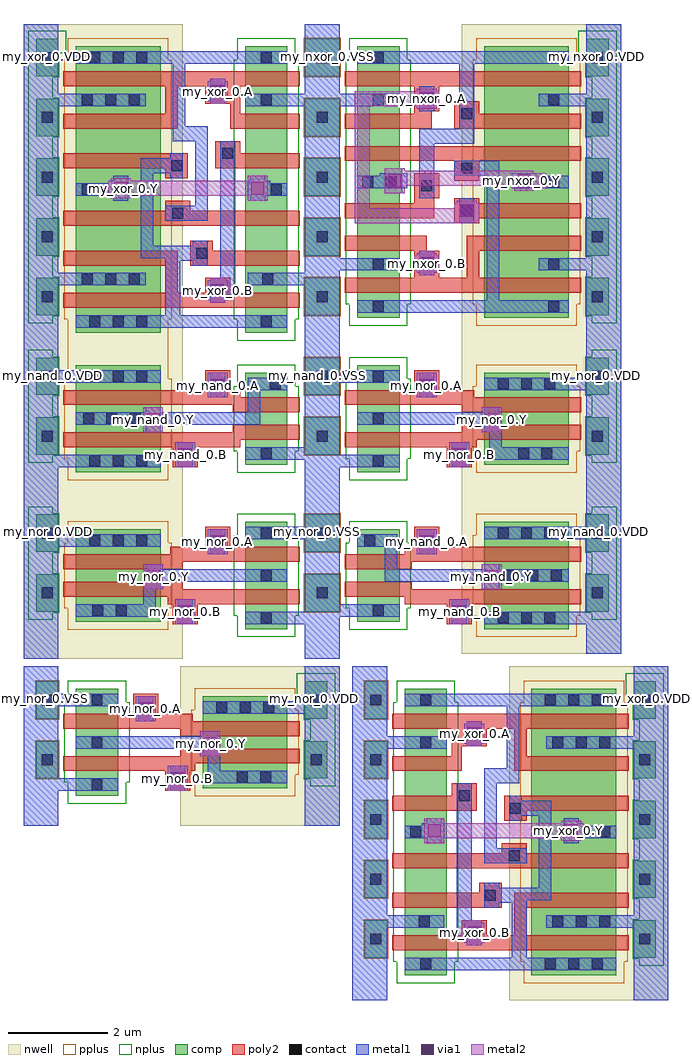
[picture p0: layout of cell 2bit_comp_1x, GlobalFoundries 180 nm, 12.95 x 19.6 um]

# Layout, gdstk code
import gdstk
lib = gdstk.Library(unit=1e-6, precision=1e-09)
def R(c, l, rs):  # rectangles x0, y0, x1, y1
    for r in rs: c.add(gdstk.rectangle(r[:2], r[2:], *l))
def A(c, l, x, y, w, h, nx, ny, dx, dy):  # array of equal rectangles
    R(c, l, [(x+i*dx, y+j*dy, x+i*dx+w, y+j*dy+h) for i in range(nx) for j in range(ny)])
nwell = (21, 0)
comp = (22, 0)
poly2 = (30, 0)
pplus = (31, 0)
nplus = (32, 0)
contact = (33, 0)
metal1 = (34, 0)
via1 = (35, 0)
metal2 = (36, 0)

c_2bit_comp_1x = lib.new_cell('2bit_comp_1x')
R(c_2bit_comp_1x, nwell, [(6.78,-28.229,9.98,-21.529), (0.18,-24.729,3.38,-21.529), (-2.97,-21.379,0.23,-8.629), (5.83,-21.279,9.03,-8.629)])
A(c_2bit_comp_1x, comp, 3.88, -27.379, 0.45, 0.75, 1, 5, 0, 1.2)
A(c_2bit_comp_1x, comp, 9.28, -27.379, 0.45, 0.75, 1, 5, 0, 1.2)
A(c_2bit_comp_1x, comp, -2.72, -14.479, 0.45, 0.75, 1, 5, 0, 1.2)
A(c_2bit_comp_1x, comp, 2.68, -14.479, 0.7, 0.75, 1, 5, 0, 1.2)
A(c_2bit_comp_1x, comp, 8.33, -14.479, 0.45, 0.75, 1, 5, 0, 1.2)
R(c_2bit_comp_1x, comp, [(4.68,-27.729,5.53,-21.979), (7.23,-27.729,8.93,-21.979), (-1.92,-24.129,-1.07,-21.979), (0.63,-23.979,2.33,-22.129), (-2.72,-23.779,-2.27,-23.029), (2.68,-23.779,3.13,-23.029), (-2.72,-22.579,-2.27,-21.829), (2.68,-22.579,3.13,-21.829), (1.48,-20.779,2.33,-18.629), (6.28,-20.779,7.98,-18.629), (-1.92,-20.629,-0.22,-18.779), (3.73,-20.629,4.58,-18.779), (-2.72,-20.429,-2.27,-19.679), (2.68,-20.429,3.38,-19.679), (8.33,-20.429,8.78,-19.679), (-2.72,-19.229,-2.27,-18.479), (2.68,-19.229,3.38,-18.479), (8.33,-19.229,8.78,-18.479), (-1.92,-17.629,-0.22,-15.479), (3.73,-17.629,4.58,-15.479), (1.48,-17.479,2.33,-15.629), (6.28,-17.479,7.98,-15.629), (-2.72,-17.279,-2.27,-16.529), (2.68,-17.279,3.38,-16.529), (8.33,-17.279,8.78,-16.529), (-2.72,-16.079,-2.27,-15.329), (2.68,-16.079,3.38,-15.329), (8.33,-16.079,8.78,-15.329), (-1.92,-14.829,-0.22,-9.079), (1.48,-14.829,2.33,-9.079), (3.73,-14.529,4.58,-9.079), (6.28,-14.529,7.98,-9.079), (4.58,-12.029,4.63,-11.529)])
R(c_2bit_comp_1x, poly2, [(4.43,-27.229,5.83,-26.929), (5.83,-27.229,6.33,-26.629), (6.33,-27.229,6.88,-26.929), (6.88,-27.229,7.13,-26.079), (7.13,-27.229,9.18,-26.929), (4.43,-26.379,6.18,-26.079), (6.18,-26.379,6.63,-25.879), (7.13,-26.379,9.18,-26.079), (4.43,-25.579,6.63,-25.279), (6.63,-25.579,7.13,-25.079), (7.13,-25.579,9.18,-25.279), (6.68,-24.629,7.13,-24.129), (4.43,-24.429,5.63,-24.129), (5.63,-24.429,6.13,-23.879), (7.13,-24.429,9.18,-24.129), (-0.12,-24.029,0.18,-23.329), (0.18,-24.029,0.38,-23.179), (-2.17,-23.629,-0.12,-23.329), (0.38,-23.629,0.48,-23.179), (4.43,-23.629,5.63,-23.329), (5.63,-23.629,5.83,-22.479), (6.88,-23.629,7.13,-22.479), (7.13,-23.629,9.18,-23.329), (0.48,-23.479,2.58,-23.179), (5.83,-23.129,6.33,-22.479), (0.18,-22.929,0.43,-22.479), (0.43,-22.929,2.58,-22.629), (-2.17,-22.779,-0.77,-22.479), (-0.77,-22.779,-0.27,-22.079), (-0.27,-22.779,0.18,-22.479), (4.43,-22.779,5.63,-22.479), (6.33,-22.779,6.88,-22.479), (7.13,-22.779,9.18,-22.479), (0.03,-20.679,0.23,-19.829), (0.23,-20.679,0.53,-19.979), (5.53,-20.679,6.03,-19.979), (-0.07,-20.279,0.03,-19.829), (0.53,-20.279,2.58,-19.979), (4.68,-20.279,4.83,-19.829), (4.83,-20.279,5.53,-19.979), (6.03,-20.279,8.23,-19.979), (-2.17,-20.129,-0.07,-19.829), (3.48,-20.129,4.68,-19.829), (-2.17,-19.579,-0.02,-19.279), (-0.02,-19.579,0.23,-19.129), (3.48,-19.579,4.68,-19.279), (4.68,-19.579,4.83,-19.129), (0.23,-19.429,0.68,-19.129), (0.68,-19.429,1.18,-18.729), (1.18,-19.429,2.58,-19.129), (4.83,-19.429,4.88,-19.129), (4.88,-19.429,5.38,-18.729), (5.38,-19.429,8.23,-19.129), (0.03,-17.529,0.53,-16.829), (5.53,-17.529,5.83,-16.829), (5.83,-17.529,6.03,-16.679), (-2.17,-17.129,0.03,-16.829), (0.53,-17.129,1.23,-16.829), (1.23,-17.129,1.38,-16.679), (3.48,-17.129,5.53,-16.829), (6.03,-17.129,6.13,-16.679), (1.38,-16.979,2.58,-16.679), (6.13,-16.979,8.23,-16.679), (1.23,-16.429,1.38,-15.979), (1.38,-16.429,2.58,-16.129), (5.83,-16.429,6.08,-15.979), (6.08,-16.429,8.23,-16.129), (-2.17,-16.279,0.68,-15.979), (0.68,-16.279,1.18,-15.579), (1.18,-16.279,1.23,-15.979), (3.48,-16.279,4.88,-15.979), (4.88,-16.279,5.38,-15.579), (5.38,-16.279,5.83,-15.979), (-2.17,-14.329,-0.12,-14.029), (-0.12,-14.329,0.13,-13.179), (0.13,-14.329,0.68,-14.029), (0.68,-14.329,1.18,-13.729), (1.18,-14.329,2.58,-14.029), (3.48,-14.029,4.88,-13.729), (4.88,-14.029,5.13,-12.879), (5.13,-14.029,5.38,-13.179), (5.38,-14.029,5.93,-13.729), (5.93,-14.029,6.18,-12.879), (6.18,-14.029,8.23,-13.729), (-2.17,-13.479,-0.12,-13.179), (0.38,-13.479,0.83,-12.979), (0.83,-13.479,2.58,-13.179), (3.48,-13.179,4.88,-12.879), (6.18,-13.179,8.23,-12.879), (-2.17,-12.679,-0.12,-12.379), (-0.12,-12.679,0.38,-12.179), (0.38,-12.679,2.58,-12.379), (5.68,-12.629,6.18,-12.129), (3.48,-12.529,4.88,-12.229), (4.88,-12.529,5.28,-11.629), (6.18,-12.529,8.23,-12.229), (5.28,-12.129,5.38,-11.629), (5.68,-11.779,6.18,-11.079), (-0.12,-11.729,0.33,-11.229), (-2.17,-11.529,-0.12,-11.229), (0.88,-11.529,1.38,-10.979), (1.38,-11.529,2.58,-11.229), (3.48,-11.379,5.68,-11.079), (6.18,-11.379,8.23,-11.079), (-2.17,-10.729,-0.12,-10.429), (-0.12,-10.729,0.13,-9.579), (1.18,-10.729,1.38,-9.579), (1.38,-10.729,2.58,-10.429), (3.48,-10.729,4.88,-10.429), (4.88,-10.729,5.23,-9.579), (5.68,-10.729,6.18,-10.179), (6.18,-10.729,8.23,-10.429), (5.23,-10.379,5.38,-9.579), (0.68,-10.229,1.18,-9.579), (-2.17,-9.879,-0.12,-9.579), (0.13,-9.879,0.68,-9.579), (1.38,-9.879,2.58,-9.579), (3.48,-9.879,4.88,-9.579), (5.38,-9.879,8.23,-9.579)])
A(c_2bit_comp_1x, pplus, 3.86, -27.399, 0.49, 0.79, 1, 5, 0, 1.2)
A(c_2bit_comp_1x, pplus, 2.66, -14.499, 0.74, 0.79, 1, 5, 0, 1.2)
R(c_2bit_comp_1x, pplus, [(7.07,-27.889,9.09,-21.819), (7,-27.459,7.07,-22.249), (9.09,-27.459,9.16,-22.249), (0.47,-24.139,2.49,-21.969), (-2.74,-23.799,-2.25,-23.009), (0.4,-23.709,0.47,-22.399), (2.49,-23.709,2.56,-22.399), (-2.74,-22.599,-2.25,-21.809), (6.12,-20.939,8.14,-18.469), (-2.08,-20.789,-0.06,-18.619), (6.05,-20.509,6.12,-18.899), (8.14,-20.509,8.21,-18.899), (2.66,-20.449,3.4,-19.659), (-2.15,-20.359,-2.08,-19.049), (-0.06,-20.359,0.01,-19.049), (2.66,-19.249,3.4,-18.459), (-2.08,-17.789,-0.06,-8.919), (6.12,-17.639,8.14,-15.469), (-2.15,-17.359,-2.08,-15.749), (-0.06,-17.359,0.01,-15.749), (2.66,-17.299,3.4,-16.509), (6.05,-17.209,6.12,-15.899), (8.14,-17.209,8.21,-15.899), (2.66,-16.099,3.4,-15.309), (6.12,-14.689,8.14,-8.919), (-2.15,-14.559,-2.08,-9.349), (-0.06,-14.559,0.01,-9.349), (6.05,-14.259,6.12,-9.349), (8.14,-14.259,8.21,-9.349)])
A(c_2bit_comp_1x, nplus, 9.26, -27.399, 0.13, 0.79, 1, 4, 0, 1.2)
A(c_2bit_comp_1x, nplus, -2.38, -14.499, 0.13, 0.79, 1, 4, 0, 1.2)
A(c_2bit_comp_1x, nplus, 8.31, -14.499, 0.13, 0.79, 1, 4, 0, 1.2)
R(c_2bit_comp_1x, nplus, [(4.52,-27.889,5.69,-21.819), (9.39,-27.539,9.89,-21.669), (4.45,-27.459,4.52,-22.249), (5.69,-27.459,5.76,-22.249), (-2.08,-24.289,-0.91,-21.819), (2.79,-23.939,3.29,-21.669), (-2.15,-23.859,-2.08,-22.249), (-0.91,-23.859,-0.84,-22.249), (2.66,-23.799,2.79,-23.009), (2.66,-22.599,2.79,-21.669), (9.26,-22.599,9.39,-21.669), (2.52,-22.119,2.66,-21.669), (9.12,-22.119,9.26,-21.669), (1.32,-20.939,2.49,-18.469), (3.57,-20.789,4.74,-18.619), (-2.88,-20.589,-2.38,-18.319), (8.44,-20.589,8.94,-18.319), (1.25,-20.509,1.32,-18.899), (2.49,-20.509,2.56,-18.899), (-2.38,-20.449,-2.25,-19.659), (8.31,-20.449,8.44,-19.659), (3.5,-20.359,3.57,-19.049), (4.74,-20.359,4.81,-19.049), (-2.38,-19.249,-2.25,-18.459), (8.31,-19.249,8.44,-18.459), (3.57,-17.789,4.74,-15.319), (1.32,-17.639,2.49,-15.469), (-2.88,-17.439,-2.38,-15.169), (8.44,-17.439,8.94,-15.169), (3.5,-17.359,3.57,-15.749), (4.74,-17.359,4.81,-15.749), (-2.38,-17.299,-2.25,-16.509), (8.31,-17.299,8.44,-16.509), (1.25,-17.209,1.32,-15.899), (2.49,-17.209,2.56,-15.899), (-2.38,-16.099,-2.25,-15.309), (8.31,-16.099,8.44,-15.309), (1.32,-14.989,2.49,-8.919), (3.57,-14.689,4.74,-8.919), (-2.88,-14.639,-2.38,-8.769), (8.44,-14.639,8.94,-8.769), (1.25,-14.559,1.32,-9.349), (2.49,-14.559,2.56,-9.349), (3.5,-14.259,3.57,-9.349), (4.74,-14.259,4.81,-9.349), (-2.38,-9.699,-2.25,-8.769), (8.31,-9.699,8.44,-8.769), (-2.25,-9.219,-2.11,-8.769), (8.17,-9.219,8.31,-8.769)])
A(c_2bit_comp_1x, contact, 7.5, -27.614, 0.22, 0.22, 3, 2, 0.47, 5.3)
A(c_2bit_comp_1x, contact, 3.995, -27.114, 0.22, 0.22, 1, 5, 0, 1.2)
A(c_2bit_comp_1x, contact, 9.395, -27.114, 0.22, 0.22, 1, 5, 0, 1.2)
A(c_2bit_comp_1x, contact, 7.65, -26.764, 0.22, 0.22, 3, 2, 0.47, 3.6)
A(c_2bit_comp_1x, contact, -1.605, -24.014, 0.22, 0.22, 1, 3, 0, 0.85)
A(c_2bit_comp_1x, contact, 0.9, -22.464, 0.22, 0.22, 3, 1, 0.47, 0)
A(c_2bit_comp_1x, contact, 1.795, -20.664, 0.22, 0.22, 1, 3, 0, 0.85)
A(c_2bit_comp_1x, contact, 6.55, -20.664, 0.22, 0.22, 3, 2, 0.47, 1.7)
A(c_2bit_comp_1x, contact, -2.605, -20.164, 0.22, 0.22, 3, 2, 5.525, 3.15)
A(c_2bit_comp_1x, contact, 6.675, -19.814, 0.22, 0.22, 3, 1, 0.47, 0)
A(c_2bit_comp_1x, contact, -1.65, -19.114, 0.22, 0.22, 3, 2, 0.47, 1.6)
A(c_2bit_comp_1x, contact, 4.045, -17.514, 0.22, 0.22, 1, 3, 0, 0.85)
A(c_2bit_comp_1x, contact, -1.775, -16.664, 0.22, 0.22, 3, 1, 0.47, 0)
A(c_2bit_comp_1x, contact, 6.55, -15.964, 0.22, 0.22, 3, 1, 0.47, 0)
A(c_2bit_comp_1x, contact, -1.65, -15.814, 0.22, 0.22, 3, 2, 0.47, 1.1)
A(c_2bit_comp_1x, contact, -2.605, -14.214, 0.22, 0.22, 3, 4, 5.525, 1.2)
A(c_2bit_comp_1x, contact, -1.8, -13.864, 0.22, 0.22, 3, 2, 0.47, 3.6)
A(c_2bit_comp_1x, contact, 7.57, -13.564, 0.22, 0.22, 1, 3, 0, 1.65)
A(c_2bit_comp_1x, contact, -1.65, -9.414, 0.22, 0.22, 3, 1, 0.47, 0)
A(c_2bit_comp_1x, contact, 1.795, -9.414, 0.22, 0.22, 3, 1, 1.125, 0)
R(c_2bit_comp_1x, contact, [(4.995,-27.614,5.215,-27.394), (5.97,-26.989,6.19,-26.769), (4.97,-26.764,5.19,-26.544), (6.295,-26.239,6.515,-26.019), (6.77,-25.439,6.99,-25.219), (4.795,-24.964,5.015,-24.744), (8.595,-24.964,8.815,-24.744), (6.795,-24.489,7.015,-24.269), (5.77,-24.239,5.99,-24.019), (0.02,-23.889,0.24,-23.669), (1.31,-23.864,1.53,-23.644), (1.78,-23.864,2,-23.644), (-2.605,-23.514,-2.385,-23.294), (2.795,-23.514,3.015,-23.294), (4.995,-23.164,5.215,-22.944), (5.97,-22.989,6.19,-22.769), (-0.63,-22.489,-0.41,-22.269), (-2.605,-22.314,-2.385,-22.094), (2.795,-22.314,3.015,-22.094), (4.995,-22.314,5.215,-22.094), (0.17,-20.539,0.39,-20.319), (5.67,-20.539,5.89,-20.319), (-1.59,-20.514,-1.37,-20.294), (-1.12,-20.514,-0.9,-20.294), (4.045,-20.514,4.265,-20.294), (0.82,-19.139,1.04,-18.919), (5.02,-19.139,5.24,-18.919), (3.87,-19.114,4.09,-18.894), (-2.605,-18.964,-2.385,-18.744), (2.92,-18.964,3.14,-18.744), (8.445,-18.964,8.665,-18.744), (0.17,-17.389,0.39,-17.169), (5.67,-17.389,5.89,-17.169), (1.795,-17.364,2.015,-17.144), (6.96,-17.364,7.18,-17.144), (7.43,-17.364,7.65,-17.144), (0.82,-15.989,1.04,-15.769), (5.02,-15.989,5.24,-15.769), (1.97,-15.964,2.19,-15.744), (-2.605,-15.814,-2.385,-15.594), (2.92,-15.814,3.14,-15.594), (8.445,-15.814,8.665,-15.594), (1.795,-14.714,2.015,-14.494), (4.045,-14.414,4.265,-14.194), (7.57,-14.414,7.79,-14.194), (0.82,-14.089,1.04,-13.869), (1.82,-13.864,2.04,-13.644), (4.045,-13.564,4.265,-13.344), (5.02,-13.539,5.24,-13.319), (0.495,-13.339,0.715,-13.119), (0.02,-12.539,0.24,-12.319), (5.82,-12.489,6.04,-12.269), (-1.805,-12.064,-1.585,-11.844), (1.995,-12.064,2.215,-11.844), (5.02,-11.989,5.24,-11.769), (3.835,-11.914,4.055,-11.694), (4.305,-11.914,4.525,-11.694), (5.82,-11.639,6.04,-11.419), (-0.005,-11.589,0.215,-11.369), (1.02,-11.339,1.24,-11.119), (5.82,-10.539,6.04,-10.319), (1.795,-10.264,2.015,-10.044), (4.045,-10.264,4.265,-10.044), (5.02,-10.239,5.24,-10.019), (0.82,-10.089,1.04,-9.869), (-2.605,-9.414,-2.385,-9.194), (7.57,-9.414,7.79,-9.194), (8.445,-9.414,8.665,-9.194)])
R(c_2bit_comp_1x, metal1, [(3.63,-28.229,4.33,-21.529), (9.28,-28.229,9.98,-21.529), (4.68,-27.629,6.83,-27.379), (6.83,-27.629,7.13,-25.979), (7.13,-27.629,8.93,-27.379), (5.93,-27.129,6.03,-23.879), (6.03,-27.129,6.23,-26.629), (5.73,-26.979,5.93,-23.879), (4.33,-26.779,5.48,-26.529), (7.53,-26.779,9.28,-26.529), (6.28,-26.379,6.58,-25.879), (6.58,-26.279,6.83,-25.979), (7.13,-26.229,7.38,-25.979), (7.38,-26.229,7.63,-24.229), (6.28,-25.479,6.53,-23.579), (6.53,-25.479,7.13,-25.179), (5.13,-25.079,5.43,-24.579), (7.88,-25.079,8.18,-24.579), (4.68,-24.979,5.03,-24.729), (5.03,-24.979,5.13,-24.679), (5.43,-24.979,5.48,-24.679), (8.18,-24.979,8.28,-24.679), (8.28,-24.979,8.93,-24.729), (-2.97,-24.729,-2.27,-21.529), (2.68,-24.729,3.38,-21.529), (6.78,-24.629,7.03,-24.129), (7.03,-24.529,7.38,-24.229), (-2.27,-24.029,-1.07,-23.779), (-0.02,-24.029,0.28,-23.529), (0.73,-23.879,0.93,-22.829), (0.93,-23.879,0.98,-22.929), (0.98,-23.879,2.33,-23.629), (6.53,-23.879,6.73,-23.579), (6.73,-23.879,6.98,-22.079), (0.63,-23.329,0.73,-22.829), (-1.92,-23.179,0.63,-22.929), (4.33,-23.179,5.53,-22.929), (7.53,-23.179,9.28,-22.929), (5.93,-23.129,6.23,-22.629), (-0.67,-22.629,-0.37,-22.129), (0.63,-22.479,2.68,-22.229), (-2.27,-22.329,-1.07,-22.079), (4.68,-22.329,6.73,-22.079), (6.98,-22.329,8.93,-22.079), (-2.97,-21.379,-2.27,-8.629), (2.68,-21.379,3.38,-8.629), (8.33,-21.279,9.03,-8.629), (0.13,-20.679,0.43,-20.179), (1.48,-20.679,2.68,-20.429), (5.63,-20.679,5.93,-20.179), (6.28,-20.679,8.33,-20.429), (-1.92,-20.529,-0.57,-20.279), (-0.57,-20.529,-0.52,-19.579), (-0.52,-20.529,-0.32,-19.479), (3.38,-20.529,4.58,-20.279), (-0.32,-19.979,-0.22,-19.479), (6.28,-19.979,6.58,-19.479), (-0.22,-19.829,2.33,-19.579), (4.28,-19.829,4.53,-18.879), (4.53,-19.829,6.28,-19.579), (6.58,-19.829,7.98,-19.579), (0.78,-19.279,1.08,-18.779), (4.98,-19.279,5.28,-18.779), (-2.27,-19.129,-0.22,-18.879), (3.73,-19.129,4.28,-18.879), (1.48,-18.979,2.68,-18.729), (6.28,-18.979,8.33,-18.729), (-2.27,-17.529,-0.22,-17.279), (0.13,-17.529,0.43,-17.029), (3.38,-17.529,4.58,-17.279), (5.63,-17.529,5.93,-17.029), (1.48,-17.379,2.68,-17.129), (6.38,-17.379,6.58,-16.329), (6.58,-17.379,6.63,-16.429), (6.63,-17.379,7.98,-17.129), (-0.52,-16.829,-0.22,-16.329), (6.28,-16.829,6.38,-16.329), (-1.92,-16.679,-0.52,-16.429), (-0.22,-16.679,1.53,-16.429), (1.53,-16.679,1.78,-15.729), (3.73,-16.679,6.28,-16.429), (0.78,-16.129,1.08,-15.629), (4.98,-16.129,5.28,-15.629), (1.78,-15.979,2.33,-15.729), (6.28,-15.979,8.33,-15.729), (-2.27,-15.829,-0.22,-15.579), (3.38,-15.829,4.58,-15.579), (-1.92,-14.729,-0.12,-14.479), (-0.12,-14.729,0.18,-13.079), (0.18,-14.729,2.33,-14.479), (3.73,-14.429,6.33,-14.179), (6.33,-14.429,6.58,-11.379), (6.58,-14.429,7.98,-14.179), (0.78,-14.229,0.98,-13.729), (0.98,-14.229,1.08,-10.979), (1.08,-14.079,1.28,-10.979), (-2.27,-13.879,-0.52,-13.629), (1.53,-13.879,2.68,-13.629), (4.98,-13.679,5.28,-13.179), (3.38,-13.579,4.58,-13.329), (7.38,-13.579,8.33,-13.329), (0.43,-13.479,0.73,-12.979), (0.18,-13.379,0.43,-13.079), (-0.62,-13.329,-0.37,-11.329), (-0.37,-13.329,-0.12,-13.079), (5.78,-12.629,6.08,-12.129), (-0.12,-12.579,0.48,-12.279), (0.48,-12.579,0.73,-10.679), (-1.17,-12.179,-0.87,-11.679), (1.58,-12.179,1.88,-11.679), (4.98,-12.129,5.28,-10.729), (-1.92,-12.079,-1.27,-11.829), (-1.27,-12.079,-1.17,-11.779), (1.53,-12.079,1.58,-11.779), (1.88,-12.079,1.98,-11.779), (1.98,-12.079,2.33,-11.829), (3.73,-11.929,4.18,-11.679), (4.18,-11.929,4.73,-11.629), (6.83,-11.929,7.53,-11.629), (7.53,-11.929,7.98,-11.679), (-0.02,-11.729,0.23,-11.229), (5.68,-11.679,6.33,-11.379), (-0.37,-11.629,-0.02,-11.329), (5.28,-11.029,5.78,-10.729), (5.78,-11.029,6.08,-9.179), (0.03,-10.979,0.28,-9.179), (0.28,-10.979,0.48,-10.679), (4.98,-10.379,5.28,-9.879), (-2.27,-10.279,-0.52,-10.029), (1.48,-10.279,2.68,-10.029), (3.38,-10.279,4.58,-10.029), (7.38,-10.279,8.33,-10.029), (0.78,-10.229,1.08,-9.729), (-1.92,-9.429,0.03,-9.179), (0.28,-9.429,2.33,-9.179), (3.73,-9.429,5.78,-9.179), (6.08,-9.429,7.98,-9.179)])
R(c_2bit_comp_1x, via1, [(5.95,-27.009,6.21,-26.749), (5.15,-24.959,5.41,-24.699), (7.9,-24.959,8.16,-24.699), (0,-23.909,0.26,-23.649), (0.65,-23.209,0.91,-22.949), (5.95,-23.009,6.21,-22.749), (-0.65,-22.509,-0.39,-22.249), (0.15,-20.559,0.41,-20.299), (5.65,-20.559,5.91,-20.299), (-0.5,-19.859,-0.24,-19.599), (6.3,-19.859,6.56,-19.599), (0.8,-19.159,1.06,-18.899), (5,-19.159,5.26,-18.899), (0.15,-17.409,0.41,-17.149), (5.65,-17.409,5.91,-17.149), (-0.5,-16.709,-0.24,-16.449), (6.3,-16.709,6.56,-16.449), (0.8,-16.009,1.06,-15.749), (5,-16.009,5.26,-15.749), (0.8,-14.109,1.06,-13.849), (5,-13.559,5.26,-13.299), (5.8,-12.509,6.06,-12.249), (-1.15,-12.059,-0.89,-11.799), (1.6,-12.059,1.86,-11.799), (4.35,-11.909,4.61,-11.649), (6.95,-11.909,7.21,-11.649), (5,-10.259,5.26,-9.999), (0.8,-10.109,1.06,-9.849)])
R(c_2bit_comp_1x, metal2, [(5.93,-27.129,6.23,-26.629), (5.88,-27.079,5.93,-26.679), (6.23,-27.079,6.28,-26.679), (5.08,-25.079,5.48,-24.579), (7.83,-25.029,8.23,-24.629), (5.48,-24.979,7.83,-24.679), (8.23,-24.979,8.28,-24.679), (-0.07,-24.029,0.33,-23.529), (0.58,-23.329,0.98,-22.829), (5.93,-23.129,6.23,-22.629), (5.88,-23.079,5.93,-22.679), (6.23,-23.079,6.28,-22.679), (-0.72,-22.629,-0.32,-22.129), (0.08,-20.679,0.48,-20.179), (5.58,-20.679,5.98,-20.179), (-0.57,-19.979,-0.17,-19.479), (6.23,-19.979,6.63,-19.479), (0.73,-19.279,1.13,-18.779), (4.93,-19.279,5.33,-18.779), (0.08,-17.529,0.48,-17.029), (5.58,-17.529,5.98,-17.029), (-0.57,-16.829,-0.17,-16.329), (6.23,-16.829,6.63,-16.329), (0.73,-16.129,1.13,-15.629), (4.93,-16.129,5.33,-15.629), (0.78,-14.229,1.08,-13.729), (0.73,-14.179,0.78,-13.779), (1.08,-14.179,1.13,-13.779), (4.98,-13.679,5.28,-13.179), (4.93,-13.629,4.98,-13.229), (5.28,-13.629,5.33,-13.229), (4.88,-13.579,4.93,-13.279), (5.33,-13.579,5.38,-13.279), (3.68,-12.629,3.98,-9.979), (3.98,-12.629,5.68,-12.329), (5.68,-12.629,5.73,-12.229), (5.73,-12.629,6.13,-12.179), (6.13,-12.579,6.18,-12.229), (1.53,-12.179,1.93,-11.679), (-1.22,-12.129,-0.82,-11.729), (-1.27,-12.079,-1.22,-11.779), (-0.82,-12.079,1.53,-11.779), (4.28,-12.029,4.68,-11.529), (6.88,-11.979,7.28,-11.579), (6.83,-11.929,6.88,-11.579), (7.28,-11.929,7.53,-11.629), (4.68,-11.879,6.83,-11.579), (4.93,-10.329,5.33,-9.929), (3.98,-10.279,4.93,-9.979), (5.33,-10.279,5.38,-9.979), (0.78,-10.229,1.08,-9.729), (0.73,-10.179,0.78,-9.779), (1.08,-10.179,1.13,-9.779)])
c_2bit_comp_1x.add(gdstk.Label('my_nxor_0.VDD', (8.53,-9.279), layer=34, texttype=0))
c_2bit_comp_1x.add(gdstk.Label('my_nxor_0.VSS', (3.13,-9.279), layer=34, texttype=0))
c_2bit_comp_1x.add(gdstk.Label('my_xor_0.VDD', (-2.52,-9.279), layer=34, texttype=0))
c_2bit_comp_1x.add(gdstk.Label('my_xor_0.VSS', (2.88,-9.279), layer=34, texttype=0))
c_2bit_comp_1x.add(gdstk.Label('my_nand_0.VDD', (-2.52,-15.679), layer=34, texttype=0))
c_2bit_comp_1x.add(gdstk.Label('my_nand_0.VSS', (2.93,-15.679), layer=34, texttype=0))
c_2bit_comp_1x.add(gdstk.Label('my_nor_0.VSS', (3.13,-15.679), layer=34, texttype=0))
c_2bit_comp_1x.add(gdstk.Label('my_nor_0.VDD', (8.53,-15.679), layer=34, texttype=0))
c_2bit_comp_1x.add(gdstk.Label('my_nor_0.VDD', (-2.47,-18.829), layer=34, texttype=0))
c_2bit_comp_1x.add(gdstk.Label('my_nor_0.VSS', (2.93,-18.829), layer=34, texttype=0))
c_2bit_comp_1x.add(gdstk.Label('my_nand_0.VSS', (3.13,-18.829), layer=34, texttype=0))
c_2bit_comp_1x.add(gdstk.Label('my_nand_0.VDD', (8.58,-18.829), layer=34, texttype=0))
c_2bit_comp_1x.add(gdstk.Label('my_nor_0.VDD', (2.88,-22.179), layer=34, texttype=0))
c_2bit_comp_1x.add(gdstk.Label('my_nor_0.VSS', (-2.52,-22.179), layer=34, texttype=0))
c_2bit_comp_1x.add(gdstk.Label('my_xor_0.VDD', (9.53,-22.179), layer=34, texttype=0))
c_2bit_comp_1x.add(gdstk.Label('my_xor_0.VSS', (4.13,-22.179), layer=34, texttype=0))
c_2bit_comp_1x.add(gdstk.Label('my_nxor_0.A', (5.13,-10.129), layer=36, texttype=0))
c_2bit_comp_1x.add(gdstk.Label('my_nxor_0.Y', (7.03,-11.779), layer=36, texttype=0))
c_2bit_comp_1x.add(gdstk.Label('my_xor_0.A', (0.93,-9.979), layer=36, texttype=0))
c_2bit_comp_1x.add(gdstk.Label('my_xor_0.B', (0.93,-13.979), layer=36, texttype=0))
c_2bit_comp_1x.add(gdstk.Label('my_xor_0.Y', (-0.97,-11.929), layer=36, texttype=0))
c_2bit_comp_1x.add(gdstk.Label('my_nand_0.A', (0.93,-15.879), layer=36, texttype=0))
c_2bit_comp_1x.add(gdstk.Label('my_nand_0.B', (0.28,-17.279), layer=36, texttype=0))
c_2bit_comp_1x.add(gdstk.Label('my_nand_0.Y', (-0.37,-16.579), layer=36, texttype=0))
c_2bit_comp_1x.add(gdstk.Label('my_nor_0.Y', (6.43,-16.579), layer=36, texttype=0))
c_2bit_comp_1x.add(gdstk.Label('my_nor_0.B', (5.78,-17.279), layer=36, texttype=0))
c_2bit_comp_1x.add(gdstk.Label('my_nor_0.A', (5.13,-15.879), layer=36, texttype=0))
c_2bit_comp_1x.add(gdstk.Label('my_nxor_0.B', (5.13,-13.429), layer=36, texttype=0))
c_2bit_comp_1x.add(gdstk.Label('my_nor_0.A', (0.93,-19.029), layer=36, texttype=0))
c_2bit_comp_1x.add(gdstk.Label('my_nor_0.B', (0.28,-20.429), layer=36, texttype=0))
c_2bit_comp_1x.add(gdstk.Label('my_nor_0.Y', (-0.37,-19.729), layer=36, texttype=0))
c_2bit_comp_1x.add(gdstk.Label('my_nand_0.Y', (6.43,-19.729), layer=36, texttype=0))
c_2bit_comp_1x.add(gdstk.Label('my_nand_0.B', (5.78,-20.429), layer=36, texttype=0))
c_2bit_comp_1x.add(gdstk.Label('my_nand_0.A', (5.13,-19.029), layer=36, texttype=0))
c_2bit_comp_1x.add(gdstk.Label('my_nor_0.A', (-0.52,-22.379), layer=36, texttype=0))
c_2bit_comp_1x.add(gdstk.Label('my_nor_0.B', (0.13,-23.779), layer=36, texttype=0))
c_2bit_comp_1x.add(gdstk.Label('my_nor_0.Y', (0.78,-23.079), layer=36, texttype=0))
c_2bit_comp_1x.add(gdstk.Label('my_xor_0.A', (6.08,-22.879), layer=36, texttype=0))
c_2bit_comp_1x.add(gdstk.Label('my_xor_0.B', (6.08,-26.879), layer=36, texttype=0))
c_2bit_comp_1x.add(gdstk.Label('my_xor_0.Y', (7.98,-24.829), layer=36, texttype=0))

lib.write_gds('2bit_comp_1x.gds')
